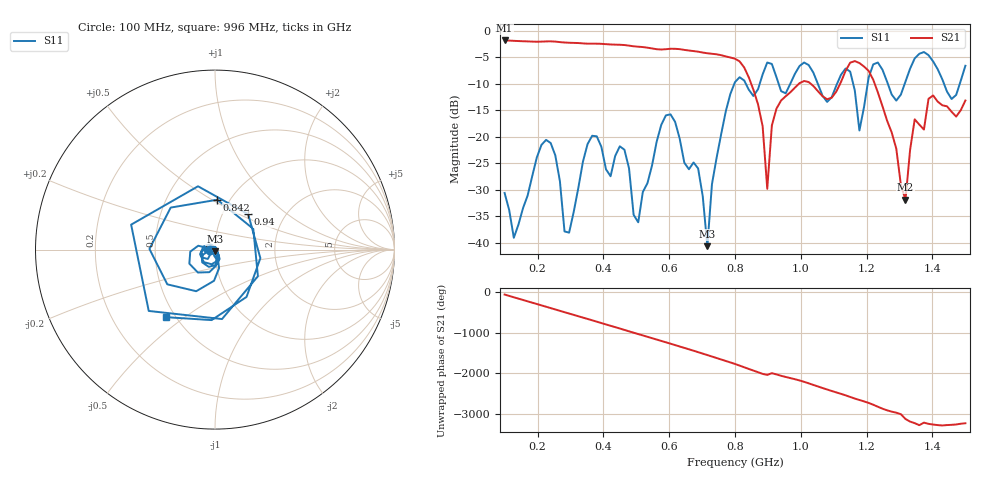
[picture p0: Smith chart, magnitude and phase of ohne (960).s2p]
! NanoVNA-App
! Date: 2025-09-25 14:28:16
! Start: 100MHz Stop: 1,5GHz Points: 101
! S-Parameter data: F S11 S21 S12 S22
# Hz S RI R 50
!  Frequency  S11_Real  S11_Imag  S21_Real  S21_Imag  S12_Real  S12_Imag  S22_Real  S22_Imag
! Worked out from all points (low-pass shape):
!   101 points, 100 MHz to 1.5 GHz, reference 50 ohm
!   highest |S21| = -1.79 dB at 100 MHz (marker M1); lowest = -31.9 dB at 1.318 GHz (marker M2)
!   |S21| within 3 dB of the highest: start of sweep to 771 MHz
!   lowest |S11| = -40.7 dB at 716 MHz (marker M3), VSWR 1.02, Z = 49.9 - j0.913 ohm
!   |S11| at or under -10 dB: start of sweep to 797.9 MHz; 833.1 MHz to 875 MHz (41.96 MHz wide, 4.91 % of centre); 1.052 GHz to 1.11 GHz (58.26 MHz wide, 5.39 % of centre) (the widest 3 of 7)
!   S12 and S22 are empty: the file has one direction only
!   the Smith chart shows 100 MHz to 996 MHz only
!   S11 on the Smith chart (normalised r, x): 100 MHz: 0.94, -0.01; 842 MHz: 0.88, +0.53; 940 MHz: 1.32, +0.56; 996 MHz: 0.44, -0.43
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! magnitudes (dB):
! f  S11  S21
! 100 MHz  -30.6  -1.8
! 128 MHz  -39.1  -1.9
! 226 MHz  -20.6  -2.0
! 296 MHz  -38.1  -2.2
! 338 MHz  -24.7  -2.3
! 464 MHz  -22.4  -2.7
! 506 MHz  -36.2  -3.0
! 576 MHz  -17.8  -3.5
! 688 MHz  -26.0  -3.9
! 716 MHz  -40.7  -4.2
! 800 MHz  -9.7  -5.3
! 842 MHz  -11.1  -8.8
! 898 MHz  -6.0  -29.8
! 940 MHz  -11.4  -13.1
! 996 MHz  -6.6  -9.9
! 1.038 GHz  -7.9  -10.4
! 1.178 GHz  -18.8  -6.1
! 1.22 GHz  -6.3  -9.2
! 1.276 GHz  -12.0  -19.2
! 1.318 GHz  -9.6  -31.9
! 1.346 GHz  -5.2  -16.7
! 1.5 GHz  -6.6  -13.1
